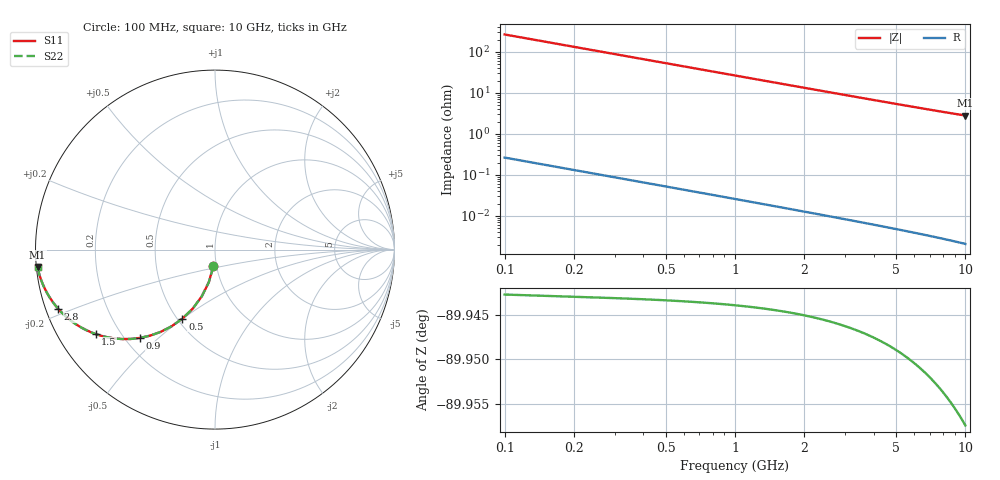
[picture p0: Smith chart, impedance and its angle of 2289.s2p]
# Hz S RI R 50.00
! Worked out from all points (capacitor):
!   100 points, 100 MHz to 10 GHz, reference 50 ohm
!   read as one part in shunt: C = 5.98 pF near 100 MHz
!   lowest |Z| = 2.81 ohm at 10 GHz (marker M1)
!   S11 on the Smith chart (normalised r, x): 100 MHz: 0.97, -0.18; 500 MHz: 0.53, -0.50; 900 MHz: 0.26, -0.44; 1.5 GHz: 0.11, -0.31; 2.8 GHz: 0.04, -0.18; 10 GHz: 0.00, -0.05
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1e8  -0.00882 -0.0931  0.9911 -0.0932  0.9911 -0.0932  -0.00882 -0.0931
2e8  -0.0343 -0.1814  0.9657 -0.1816  0.9657 -0.1816  -0.0343 -0.1814
3e8  -0.0738 -0.2609  0.9261 -0.2613  0.9261 -0.2613  -0.0738 -0.2609
4e8  -0.1241 -0.3289  0.8759 -0.3295  0.8759 -0.3295  -0.1241 -0.3289
5e8  -0.1811 -0.3843  0.8188 -0.385  0.8188 -0.385  -0.1811 -0.3843
6e8  -0.2414 -0.427  0.7585 -0.4279  0.7585 -0.4279  -0.2414 -0.427
7e8  -0.3022 -0.4582  0.6977 -0.4592  0.6977 -0.4592  -0.3022 -0.4582
8e8  -0.3612 -0.4793  0.6387 -0.4804  0.6387 -0.4804  -0.3612 -0.4793
9e8  -0.4171 -0.4919  0.5829 -0.4932  0.5829 -0.4932  -0.4171 -0.4919
1e9  -0.4689 -0.4978  0.531 -0.4993  0.531 -0.4993  -0.4689 -0.4978
1.2e9  -0.5596 -0.4951  0.4403 -0.4968  0.4403 -0.4968  -0.5596 -0.4951
1.5e9  -0.6649 -0.4704  0.335 -0.4726  0.335 -0.4726  -0.6649 -0.4704
1.8e9  -0.7406 -0.4365  0.2593 -0.4391  0.2593 -0.4391  -0.7406 -0.4365
2e9  -0.779 -0.413  0.221 -0.4159  0.221 -0.4159  -0.779 -0.413
2.3e9  -0.8233 -0.3792  0.1767 -0.3826  0.1767 -0.3826  -0.8233 -0.3792
2.8e9  -0.8734 -0.3299  0.1265 -0.334  0.1265 -0.334  -0.8734 -0.3299
3.4e9  -0.9105 -0.2825  0.0895 -0.2874  0.0895 -0.2874  -0.9105 -0.2825
4.2e9  -0.9394 -0.2349  0.0605 -0.241  0.0605 -0.241  -0.9394 -0.2349
5.1e9  -0.9581 -0.196  0.0418 -0.2034  0.0418 -0.2034  -0.9581 -0.196
6.7e9  -0.9753 -0.1494  0.0245 -0.1593  0.0245 -0.1593  -0.9753 -0.1494
8.4e9  -0.9842 -0.1174  0.0156 -0.13  0.0156 -0.13  -0.9842 -0.1174
1e10  -0.9889 -0.0963  0.0109 -0.1114  0.0109 -0.1114  -0.9889 -0.0963
